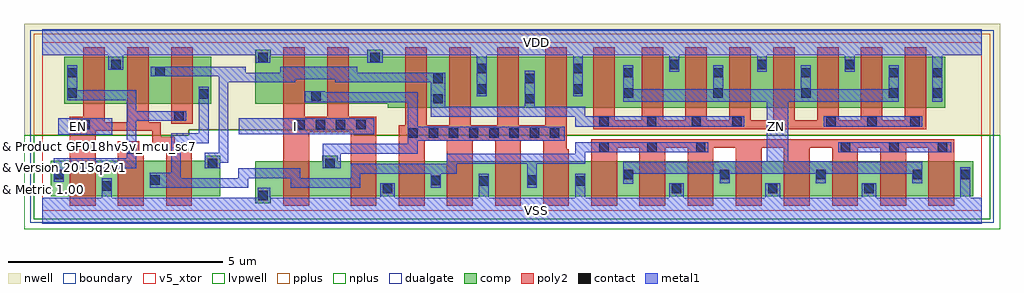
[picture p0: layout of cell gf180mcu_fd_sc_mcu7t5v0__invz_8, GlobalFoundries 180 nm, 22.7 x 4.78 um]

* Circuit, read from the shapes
.subckt gf180mcu_fd_sc_mcu7t5v0__invz_8 EN I VDD VSS ZN
XM1 VSS EN n1 VSUBS nfet_05v0 w=0.82u l=0.6u
XM2 n2 n1 VSS VSUBS nfet_05v0 w=0.82u l=0.6u
XM3 n3 EN n2 VSUBS nfet_05v0 w=0.82u l=0.6u
XM4 n4 I VSS VSUBS nfet_05v0 w=0.815u l=0.6u m=2
XM5 n2 n4 VSS VSUBS nfet_05v0 w=0.815u l=0.6u m=4
XM6 ZN n2 VSS VSUBS nfet_05v0 w=0.815u l=0.6u m=8
XM7 VDD EN n1 n5 pfet_05v0 w=1.095u l=0.5u
XM8 n3 EN VDD n5 pfet_05v0 w=1.095u l=0.5u
XM9 n2 n1 n3 n5 pfet_05v0 w=1.095u l=0.5u
XM10 n4 I VDD n5 pfet_05v0 w=1.095u l=0.5u m=2
XM11 n3 n4 VDD n5 pfet_05v0 w=1.18u l=0.5u m=4
XM12 ZN n3 VDD n5 pfet_05v0 w=1.18u l=0.5u m=8
.ends

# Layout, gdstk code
import gdstk
lib = gdstk.Library(unit=1e-6, precision=1e-09)
def R(c, l, rs):  # rectangles x0, y0, x1, y1
    for r in rs: c.add(gdstk.rectangle(r[:2], r[2:], *l))
def A(c, l, x, y, w, h, nx, ny, dx, dy):  # array of equal rectangles
    R(c, l, [(x+i*dx, y+j*dy, x+i*dx+w, y+j*dy+h) for i in range(nx) for j in range(ny)])
def P(c, l, *ps):  # polygons
    for p in ps: c.add(gdstk.Polygon(p, *l))
boundary = (0, 0)
nwell = (21, 0)
comp = (22, 0)
poly2 = (30, 0)
pplus = (31, 0)
nplus = (32, 0)
contact = (33, 0)
metal1 = (34, 0)
dualgate = (55, 0)
v5_xtor = (112, 1)
lvpwell = (204, 0)

gf180mcu_fd_sc_mcu7t5v0_ = lib.new_cell('gf180mcu_fd_sc_mcu7t5v0__invz_8')
R(gf180mcu_fd_sc_mcu7t5v0_, boundary, [(0,0,21.84,3.92)])
P(gf180mcu_fd_sc_mcu7t5v0_, nwell, [(-0.43,1.76),(-0.43,4.35),(22.27,4.35),(22.27,1.76),(7.235,1.76),(7.235,1.885),(3.405,1.885),(3.405,1.76)])
R(gf180mcu_fd_sc_mcu7t5v0_, comp, [(0.51,2.485,3.93,3.58)])
P(gf180mcu_fd_sc_mcu7t5v0_, comp, [(0.195,0.34),(0.195,1.16),(3.775,1.16),(3.775,1.285),(4.135,1.285),(4.135,0.34)],
  [(8.035,2.4),(8.035,2.485),(4.945,2.485),(4.945,3.74),(5.305,3.74),(5.305,3.58),(7.555,3.58),(7.555,3.74),(7.915,3.74),(7.915,3.58),(20.995,3.58),(20.995,2.4)],
  [(4.945,0.18),(4.945,1.155),(6.505,1.155),(6.505,1.285),(6.865,1.285),(6.865,1.155),(21.645,1.155),(21.645,0.34),(5.305,0.34),(5.305,0.18)])
R(gf180mcu_fd_sc_mcu7t5v0_, poly2, [(2.99,2.025,3.49,3.8)])
P(gf180mcu_fd_sc_mcu7t5v0_, poly2, [(1.755,0.12),(1.755,1.62),(2.25,1.62),(2.25,1.38),(2.355,1.38),(2.355,0.12)],
  [(0.635,0.12),(0.635,2.185),(0.95,2.185),(0.95,3.8),(1.45,3.8),(1.45,2.06),(1.97,2.06),(1.97,3.8),(2.47,3.8),(2.47,2.06),(2.75,2.06),(2.75,1.725),(3.075,1.725),(3.075,1.44),(3.475,1.44),(3.475,0.12),(2.875,0.12),(2.875,1.525),(2.55,1.525),(2.55,1.86),(1.235,1.86),(1.235,0.12)],
  [(5.605,0.12),(5.605,3.8),(6.105,3.8),(6.105,2.185),(6.625,2.185),(6.625,3.8),(7.125,3.8),(7.125,2.185),(7.765,2.185),(7.765,0.12),(7.165,0.12),(7.165,1.825),(6.205,1.825),(6.205,0.12)],
  [(8.285,0.12),(8.285,1.99),(8.435,1.99),(8.435,3.8),(8.935,3.8),(8.935,1.99),(9.455,1.99),(9.455,3.8),(9.955,3.8),(9.955,1.99),(10.575,1.99),(10.575,3.8),(11.075,3.8),(11.075,1.99),(11.695,1.99),(11.695,3.8),(12.195,3.8),(12.195,1.435),(12.245,1.435),(12.245,0.12),(11.645,0.12),(11.645,1.63),(11.125,1.63),(11.125,0.12),(10.525,0.12),(10.525,1.63),(10.005,1.63),(10.005,0.12),(9.405,0.12),(9.405,1.63),(8.885,1.63),(8.885,0.12)],
  [(12.815,1.9),(12.815,3.8),(13.315,3.8),(13.315,2.1),(13.935,2.1),(13.935,3.8),(14.435,3.8),(14.435,2.1),(14.955,2.1),(14.955,3.8),(15.455,3.8),(15.455,2.1),(15.975,2.1),(15.975,3.8),(16.475,3.8),(16.475,2.1),(16.995,2.1),(16.995,3.8),(17.495,3.8),(17.495,2.1),(18.015,2.1),(18.015,3.8),(18.515,3.8),(18.515,2.1),(19.035,2.1),(19.035,3.8),(19.535,3.8),(19.535,2.1),(20.055,2.1),(20.055,3.8),(20.555,3.8),(20.555,1.9)],
  [(12.765,0.12),(12.765,1.66),(21.205,1.66),(21.205,0.12),(20.605,0.12),(20.605,1.46),(20.085,1.46),(20.085,0.12),(19.485,0.12),(19.485,1.46),(18.965,1.46),(18.965,0.12),(18.365,0.12),(18.365,1.46),(17.845,1.46),(17.845,0.12),(17.245,0.12),(17.245,1.46),(16.725,1.46),(16.725,0.12),(16.125,0.12),(16.125,1.46),(15.605,1.46),(15.605,0.12),(15.005,0.12),(15.005,1.46),(14.485,1.46),(14.485,0.12),(13.885,0.12),(13.885,1.46),(13.365,1.46),(13.365,0.12)])
P(gf180mcu_fd_sc_mcu7t5v0_, pplus, [(-0.2,1.76),(-0.2,4.12),(22.04,4.12),(22.04,1.76),(7.235,1.76),(7.235,1.885),(3.405,1.885),(3.405,1.76)])
P(gf180mcu_fd_sc_mcu7t5v0_, nplus, [(-0.2,-0.2),(-0.2,1.76),(3.405,1.76),(3.405,1.885),(7.235,1.885),(7.235,1.76),(22.04,1.76),(22.04,-0.2)])
A(gf180mcu_fd_sc_mcu7t5v0_, contact, 14.635, 0.41, 0.22, 0.22, 3, 1, 2.24, 0)
A(gf180mcu_fd_sc_mcu7t5v0_, contact, 13.515, 0.735, 0.22, 0.22, 4, 1, 2.24, 0)
A(gf180mcu_fd_sc_mcu7t5v0_, contact, 18.565, 1.37, 0.22, 0.22, 3, 1, 1.13, 0)
A(gf180mcu_fd_sc_mcu7t5v0_, contact, 8.51, 1.7, 0.22, 0.22, 8, 1, 0.47, 0)
A(gf180mcu_fd_sc_mcu7t5v0_, contact, 5.885, 1.895, 0.22, 0.22, 4, 1, 0.47, 0)
A(gf180mcu_fd_sc_mcu7t5v0_, contact, 15.605, 2.63, 0.22, 0.22, 3, 2, 2.04, 0.47)
A(gf180mcu_fd_sc_mcu7t5v0_, contact, 14.585, 3.29, 0.22, 0.22, 3, 1, 2.04, 0)
R(gf180mcu_fd_sc_mcu7t5v0_, contact, [(5.015,0.25,5.235,0.47), (7.915,0.41,8.135,0.63), (1.385,0.47,1.605,0.69), (10.155,0.585,10.375,0.805), (12.395,0.585,12.615,0.805), (9.035,0.59,9.255,0.81), (2.505,0.605,2.725,0.825), (11.275,0.61,11.495,0.83), (0.265,0.735,0.485,0.955), (21.355,0.735,21.575,0.955), (3.845,0.995,4.065,1.215), (6.575,0.995,6.795,1.215), (1.96,1.33,2.18,1.55), (12.95,1.37,13.17,1.59), (14.065,1.37,14.285,1.59), (15.2,1.37,15.42,1.59), (0.88,1.895,1.1,2.115), (12.955,1.97,13.175,2.19), (14.06,1.97,14.28,2.19), (15.095,1.97,15.315,2.19), (16.045,1.97,16.265,2.19), (18.225,1.97,18.445,2.19), (19.18,1.97,19.4,2.19), (20.18,1.97,20.4,2.19), (3.06,2.095,3.28,2.315), (9.085,2.495,9.305,2.715), (11.225,2.495,11.445,2.715), (6.255,2.555,6.475,2.775), (3.64,2.605,3.86,2.825), (0.58,2.63,0.8,2.85), (13.515,2.63,13.735,2.85), (20.705,2.63,20.925,2.85), (10.105,2.725,10.325,2.945), (12.345,2.725,12.565,2.945), (9.085,2.965,9.305,3.185), (11.225,2.965,11.445,3.185), (0.58,3.1,0.8,3.32), (13.515,3.1,13.735,3.32), (20.705,3.1,20.925,3.32), (2.62,3.13,2.84,3.35), (10.105,3.195,10.325,3.415), (12.345,3.195,12.565,3.415), (1.6,3.29,1.82,3.51), (5.015,3.45,5.235,3.67), (7.625,3.45,7.845,3.67)])
R(gf180mcu_fd_sc_mcu7t5v0_, metal1, [(18.505,1.365,21.14,1.595), (0.37,1.77,1.625,2.15), (4.57,1.785,7.72,2.15), (18.165,1.96,20.46,2.195)])
P(gf180mcu_fd_sc_mcu7t5v0_, metal1, [(0.26,0.675),(0.26,1.225),(1.955,1.225),(1.955,2.57),(0.575,2.57),(0.575,3.38),(0.805,3.38),(0.805,2.8),(2.185,2.8),(2.185,2.32),(3.345,2.32),(3.345,2.09),(2.185,2.09),(2.185,0.99),(0.49,0.99),(0.49,0.675)],
  [(6.515,0.99),(6.515,1.555),(8.5,1.555),(8.5,2.525),(6.105,2.525),(6.105,2.78),(6.58,2.78),(6.58,2.755),(8.73,2.755),(8.73,1.955),(12.145,1.955),(12.145,1.625),(8.73,1.625),(8.73,1.325),(6.935,1.325),(6.935,0.99)],
  [(2.5,0.53),(2.5,0.885),(2.99,0.885),(2.99,1.805),(3.635,1.805),(3.635,2.89),(3.865,2.89),(3.865,1.575),(3.22,1.575),(3.22,0.76),(4.55,0.76),(4.55,0.99),(6,0.99),(6,0.76),(7.165,0.76),(7.165,1.095),(9.405,1.095),(9.405,1.325),(12.39,1.325),(12.39,1.595),(15.48,1.595),(15.48,1.365),(12.62,1.365),(12.62,1.095),(11.5,1.095),(11.5,0.53),(11.27,0.53),(11.27,1.095),(9.635,1.095),(9.635,0.865),(9.26,0.865),(9.26,0.53),(9.03,0.53),(9.03,0.865),(7.395,0.865),(7.395,0.53),(5.77,0.53),(5.77,0.76),(4.78,0.76),(4.78,0.53)],
  [(3.775,0.99),(3.775,1.345),(4.095,1.345),(4.095,3.125),(2.52,3.125),(2.52,3.355),(4.725,3.355),(4.725,3.215),(5.525,3.215),(5.525,3.355),(7.325,3.355),(7.325,3.215),(9.365,3.215),(9.365,2.415),(11.22,2.415),(11.22,3.26),(11.45,3.26),(11.45,2.415),(12.62,2.415),(12.62,2.195),(16.325,2.195),(16.325,1.96),(12.39,1.96),(12.39,2.185),(9.025,2.185),(9.025,2.985),(6.81,2.985),(6.81,3.055),(5.875,3.055),(5.875,2.985),(4.325,2.985),(4.325,1.115),(4.135,1.115),(4.135,0.99)],
  [(13.51,0.63),(13.51,1.135),(15.74,1.135),(15.74,1.155),(16.85,1.155),(16.85,2.53),(13.505,2.53),(13.505,3.38),(13.745,3.38),(13.745,2.83),(15.6,2.83),(15.6,3.38),(15.83,3.38),(15.83,2.83),(17.64,2.83),(17.64,3.38),(17.87,3.38),(17.87,2.83),(19.68,2.83),(19.68,3.38),(19.91,3.38),(19.91,2.53),(17.34,2.53),(17.34,1.155),(18.315,1.155),(18.315,1.135),(20.46,1.135),(20.46,0.635),(20.23,0.635),(20.23,0.865),(18.22,0.865),(18.22,0.635),(17.99,0.635),(17.99,0.865),(15.98,0.865),(15.98,0.635),(15.75,0.635),(15.75,0.865),(13.74,0.865),(13.74,0.63)],
  [(0,-0.3),(0,0.3),(1.38,0.3),(1.38,0.76),(1.61,0.76),(1.61,0.3),(5.01,0.3),(5.01,0.53),(5.295,0.53),(5.295,0.3),(7.855,0.3),(7.855,0.635),(8.195,0.635),(8.195,0.3),(10.15,0.3),(10.15,0.865),(10.38,0.865),(10.38,0.3),(12.39,0.3),(12.39,0.865),(12.62,0.865),(12.62,0.3),(14.575,0.3),(14.575,0.635),(14.915,0.635),(14.915,0.3),(16.815,0.3),(16.815,0.635),(17.155,0.635),(17.155,0.3),(19.055,0.3),(19.055,0.635),(19.395,0.635),(19.395,0.3),(21.35,0.3),(21.35,1.015),(21.58,1.015),(21.58,0.3),(21.84,0.3),(21.84,-0.3)],
  [(20.7,2.53),(20.7,3.62),(18.89,3.62),(18.89,3.23),(18.66,3.23),(18.66,3.62),(16.85,3.62),(16.85,3.23),(16.62,3.23),(16.62,3.62),(14.81,3.62),(14.81,3.23),(14.58,3.23),(14.58,3.62),(12.57,3.62),(12.57,2.665),(12.34,2.665),(12.34,3.62),(10.33,3.62),(10.33,2.665),(10.1,2.665),(10.1,3.62),(7.915,3.62),(7.915,3.445),(7.555,3.445),(7.555,3.62),(5.295,3.62),(5.295,3.445),(4.955,3.445),(4.955,3.62),(1.88,3.62),(1.88,3.285),(1.535,3.285),(1.535,3.62),(0,3.62),(0,4.22),(21.84,4.22),(21.84,3.62),(20.93,3.62),(20.93,2.53)])
R(gf180mcu_fd_sc_mcu7t5v0_, dualgate, [(-0.28,-0.28,22.12,4.2)])
R(gf180mcu_fd_sc_mcu7t5v0_, v5_xtor, [(0,0,21.84,3.92)])
P(gf180mcu_fd_sc_mcu7t5v0_, lvpwell, [(-0.43,-0.43),(-0.43,1.76),(3.405,1.76),(3.405,1.885),(7.235,1.885),(7.235,1.76),(22.27,1.76),(22.27,-0.43)])
gf180mcu_fd_sc_mcu7t5v0_.add(gdstk.Label('VDD', (11.48,3.92), layer=34, texttype=10))
gf180mcu_fd_sc_mcu7t5v0_.add(gdstk.Label('VSS', (11.48,0), layer=34, texttype=10))
gf180mcu_fd_sc_mcu7t5v0_.add(gdstk.Label('ZN', (17.08,1.96), layer=34, texttype=10))
gf180mcu_fd_sc_mcu7t5v0_.add(gdstk.Label('EN', (0.84,1.96), layer=34, texttype=10))
gf180mcu_fd_sc_mcu7t5v0_.add(gdstk.Label('I', (5.88,1.96), layer=34, texttype=10))
gf180mcu_fd_sc_mcu7t5v0_.add(gdstk.Label('& Vendor GLOBALFOUNDRIES', (0,2), layer=63, texttype=63))
gf180mcu_fd_sc_mcu7t5v0_.add(gdstk.Label('& Product GF018hv5v_mcu_sc7', (0,1.5), layer=63, texttype=63))
gf180mcu_fd_sc_mcu7t5v0_.add(gdstk.Label('& Version 2015q2v1', (0,1), layer=63, texttype=63))
gf180mcu_fd_sc_mcu7t5v0_.add(gdstk.Label('& Metric 1.00', (0,0.5), layer=63, texttype=63))

lib.write_gds('gf180mcu_fd_sc_mcu7t5v0__invz_8.gds')
